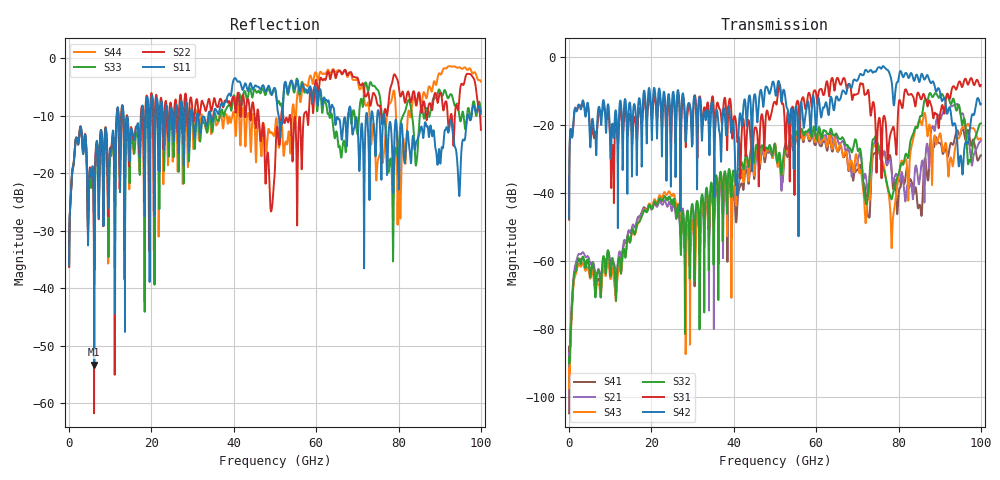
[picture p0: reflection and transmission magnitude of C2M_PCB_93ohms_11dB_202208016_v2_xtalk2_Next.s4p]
! Info: Touchstone file created by Circ.  Input file=Intel_C2M_200G_2p0in_202208016_staggered.circ
# Hz S RI R 50
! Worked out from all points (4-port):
!   10000 points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, 10 MHz to 100 GHz, reference 50 ohm
!   strongest paths, dB at 10 MHz, 25.01 GHz, 50.01 GHz, 75.01 GHz, 100 GHz:
!     S42: -47.5, -13.1, -10.1, -3.1, -13.8
!     S31: -47.8, -15.8, -13.2, -20.1, -8.2
!     S32: -88.3, -43.5, -25.7, -25.9, -19.5
!     S43: -96.7, -40.9, -25.4, -26.0, -24.1
!     S21: -89.0, -45.2, -26.0, -25.5, -24.4
!     S41: -104.8, -42.6, -26.1, -26.6, -28.9
!   lowest |S11| = -53.3 dB at 6.11 GHz (marker M1), VSWR 1.00, Z = 49.8 + j0.0995 ohm
!   |S11| at or under -10 dB: start of sweep to 11.61 GHz; 13.23 GHz to 17.55 GHz (4.322 GHz wide, 28.1 % of centre); 76.58 GHz to 96.72 GHz (20.14 GHz wide, 23.2 % of centre)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
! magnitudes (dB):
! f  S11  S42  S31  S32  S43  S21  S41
! 10 MHz  -36.1  -47.5  -47.8  -88.3  -96.7  -89.0  -104.8
! 6.11 GHz  -53.3  -22.0  -23.9  -64.5  -66.8  -61.5  -63.7
! 56.33 GHz  -5.2  -13.3  -14.0  -21.4  -21.6  -21.5  -21.7
! 78.47 GHz  -16.4  -8.8  -21.2  -41.3  -51.3  -35.5  -35.7
! 86.18 GHz  -12.8  -6.5  -11.0  -13.3  -16.8  -37.3  -32.1
! 95.16 GHz  -17.5  -29.3  -8.0  -17.8  -21.7  -16.9  -22.2
! 100 GHz  -9.7  -13.8  -8.2  -19.5  -24.1  -24.4  -28.9
